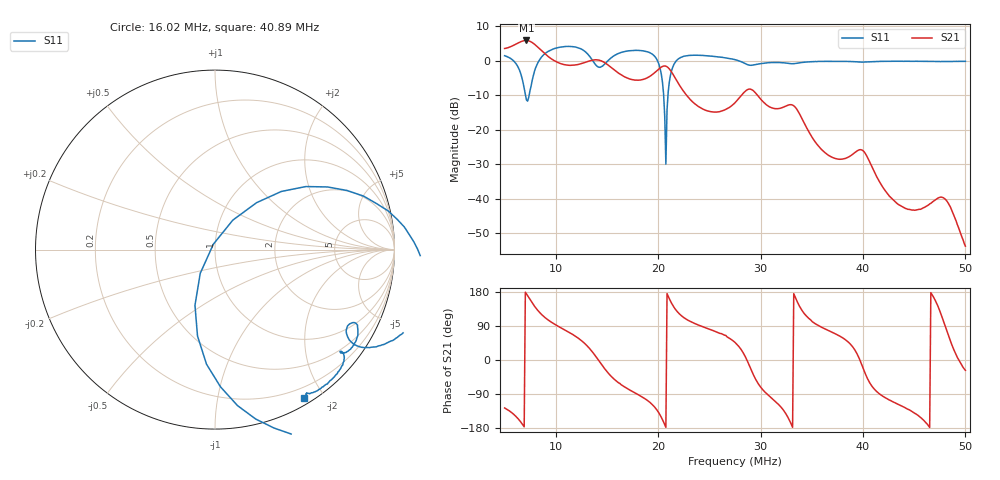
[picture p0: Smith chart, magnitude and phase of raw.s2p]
! S11/S21 only; reverse parameters are placeholders. Device calibration unverified.
! NanoVNA F V2 profile | COM3 | 2026-09-08T11:10:58.2361311-04:00 | device calibration unverified
# HZ S RI R 50
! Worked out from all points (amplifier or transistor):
!   401 points, 5 MHz to 50 MHz, reference 50 ohm
!   highest |S21| = 5.8 dB at 7.138 MHz (marker M1)
!   |S21| within 3 dB of that: start of sweep to 8.619 MHz
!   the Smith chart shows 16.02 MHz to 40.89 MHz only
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5000000  1.156 -0.2044  -0.891 -1.201  0 0  0 0
6237500  0.6697 -0.5149  -1.572 -0.8161  0 0  0 0
7137500  0.2522 -0.09  -1.944 0.1949  0 0  0 0
8150000  0.45 -0.7386  -1.113 1.16  0 0  0 0
1.00625e7  0.0389 -1.519  -0.0251 0.9583  0 0  0 0
1.25375e7  -1.089 -0.9643  0.5779 0.6981  0 0  0 0
1.34375e7  -1.08 0.065  0.9011 0.4362  0 0  0 0
1.4225e7  -0.2141 0.7692  1.012 -0.0485  0 0  0 0
1.5125e7  0.8343 0.5593  0.7048 -0.4882  0 0  0 0
1.61375e7  1.269 -0.0487  0.3231 -0.5695  0 0  0 0
1.85e7  1.056 -0.8937  -0.0798 -0.5251  0 0  0 0
2.0075e7  0.1254 -0.8692  -0.5806 -0.4863  0 0  0 0
2.075e7  -0.00901 0.0303  -0.8284 -0.0341  0 0  0 0
2.13125e7  0.6274 0.349  -0.5843 0.3439  0 0  0 0
2.2775e7  1.166 -0.1257  -0.0922 0.3001  0 0  0 0
2.75e7  0.873 -0.5435  0.1689 0.1771  0 0  0 0
2.975e7  0.7889 -0.4146  0.1456 -0.2705  0 0  0 0
3.50375e7  0.7007 -0.6614  -0.015 0.0753  0 0  0 0
3.99875e7  0.5117 -0.7999  0.0466 -0.017  0 0  0 0
4.2575e7  0.4364 -0.8744  -0.00293 -0.0105  0 0  0 0
4.78625e7  0.2329 -0.9381  -0.00217 0.01  0 0  0 0
5e7  0.1616 -0.9608  0.00182 -0.000943  0 0  0 0
